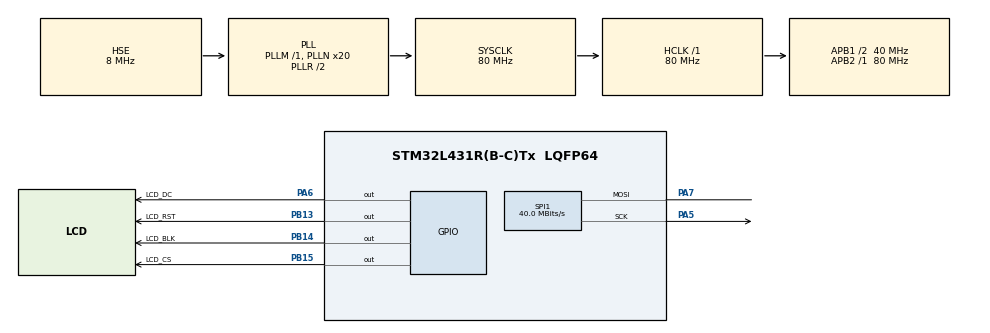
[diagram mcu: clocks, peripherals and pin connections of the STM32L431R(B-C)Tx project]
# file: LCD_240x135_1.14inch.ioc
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Mcu.Family=STM32L4
Mcu.Name=STM32L431R(B-C)Tx
Mcu.Package=LQFP64
NVIC.PriorityGroup=NVIC_PRIORITYGROUP_4
PA13\ (JTMS-SWDIO).Mode=Serial_Wire
PA13\ (JTMS-SWDIO).Signal=SYS_JTMS-SWDIO
PA14\ (JTCK-SWCLK).Mode=Serial_Wire
PA14\ (JTCK-SWCLK).Signal=SYS_JTCK-SWCLK
PA5.Mode=Simplex_Bidirectional_Master
PA5.Signal=SPI1_SCK
PA6.GPIO_Label=LCD_DC
PA6.Signal=GPIO_Output
PA7.Mode=Simplex_Bidirectional_Master
PA7.Signal=SPI1_MOSI
PB13.GPIO_Label=LCD_RST
PB13.Signal=GPIO_Output
PB14.GPIO_Label=LCD_BLK
PB14.Signal=GPIO_Output
PB15.GPIO_Label=LCD_CS
PB15.Signal=GPIO_Output
PH0-OSC_IN\ (PH0).Mode=HSE-External-Oscillator
PH0-OSC_IN\ (PH0).Signal=RCC_OSC_IN
PH1-OSC_OUT\ (PH1).Mode=HSE-External-Oscillator
PH1-OSC_OUT\ (PH1).Signal=RCC_OSC_OUT
ProjectManager.HeapSize=0x200
ProjectManager.StackSize=0x400
ProjectManager.TargetToolchain=MDK-ARM V5.32
RCC.48MHZClocksFreq_Value=42000000
RCC.ADCFreq_Value=32000000
RCC.AHBFreq_Value=80000000
RCC.APB1CLKDivider=RCC_HCLK_DIV2
RCC.APB1Freq_Value=40000000
RCC.APB1TimFreq_Value=80000000
RCC.APB2Freq_Value=80000000
RCC.APB2TimFreq_Value=80000000
RCC.CortexFreq_Value=80000000
RCC.HCLKFreq_Value=80000000
RCC.HSE_VALUE=8000000
RCC.HSI48_VALUE=48000000
RCC.HSI_VALUE=16000000
RCC.LSE_VALUE=32768
RCC.MSI_VALUE=4000000
RCC.PLLN=20
RCC.PLLSourceVirtual=RCC_PLLSOURCE_HSE
RCC.RCC_TIM_PRescaler_Selection=RCC_TIMPRES_DESACTIVATED
RCC.SYSCLKFreq_VALUE=80000000
RCC.SYSCLKSource=RCC_SYSCLKSOURCE_PLLCLK
RCC.VCOOutputFreq_Value=160000000
SPI1.CLKPhase=SPI_PHASE_1EDGE
SPI1.CLKPolarity=SPI_POLARITY_HIGH
SPI1.CalculateBaudRate=40.0 MBits/s
SPI1.DataSize=SPI_DATASIZE_8BIT
SPI1.Direction=SPI_DIRECTION_1LINE
SPI1.Mode=SPI_MODE_MASTER
SPI1.VirtualType=VM_MASTER
board=custom

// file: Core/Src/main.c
/* USER CODE BEGIN Header */
/**
  ******************************************************************************
  * @file           : main.c
  * @brief          : Main program body
  ******************************************************************************
  * @attention
  *
  * <h2><center>&copy; Copyright (c) 2022 STMicroelectronics.
  * All rights reserved.</center></h2>
  *
  * This software component is licensed by ST under BSD 3-Clause license,
  * the "License"; You may not use this file except in compliance with the
  * License. You may obtain a copy of the License at:
  *                        opensource.org/licenses/BSD-3-Clause
  *
  ******************************************************************************
  */
/* USER CODE END Header */
#include "main.h"
#include "spi.h"
#include "gpio.h"

/* USER CODE BEGIN Includes */
#include "lcd.h"
#include "picture.h"
#include "picture1.h"
#include "picture2.h"

/* USER CODE END Includes */

void SystemClock_Config(void);

int main(void)
{

  /* MCU Configuration--------------------------------------------------------*/

  /* Reset of all peripherals, Initializes the Flash interface and the Systick. */
  HAL_Init();

  /* Configure the system clock */
  SystemClock_Config();

  /* Initialize all configured peripherals */
  MX_GPIO_Init();
  MX_SPI1_Init();
  /* USER CODE BEGIN 2 */
	Lcd_Init();
	Lcd_Clear(BLACK);
	Lcd_print( 0,  10,  BLUE, "X Pulse");
	Lcd_print( 0,  30,   RED, "X Pulse");
	Lcd_print( 0,  50, GREEN, "X Pulse");
	Lcd_print( 0, 110, LIGHTBLUE, "2024-01-01 00:00:01");
	HAL_Delay(2000);

  /* USER CODE END 2 */

  /* Infinite loop */
  /* USER CODE BEGIN WHILE */
  while (1)
  {
		Lcd_ShowPicture(0, 0, 240, 135, gImage_picture);
		HAL_Delay(2000);
		Lcd_ShowPicture(0, 0, 240, 135, gImage_picture1);
		HAL_Delay(2000);
		Lcd_ShowPicture(0, 0, 240, 135, gImage_picture2);
		HAL_Delay(2000);
    /* USER CODE END WHILE */

  }
}

void SystemClock_Config(void)
{
  RCC_OscInitTypeDef RCC_OscInitStruct = {0};
  RCC_ClkInitTypeDef RCC_ClkInitStruct = {0};

  /** Configure the main internal regulator output voltage
  */
  if (HAL_PWREx_ControlVoltageScaling(PWR_REGULATOR_VOLTAGE_SCALE1) != HAL_OK)
  {
    Error_Handler();
  }

  /** Initializes the RCC Oscillators according to the specified parameters
  * in the RCC_OscInitTypeDef structure.
  */
  RCC_OscInitStruct.OscillatorType = RCC_OSCILLATORTYPE_HSE;
  RCC_OscInitStruct.HSEState = RCC_HSE_ON;
  RCC_OscInitStruct.PLL.PLLState = RCC_PLL_ON;
  RCC_OscInitStruct.PLL.PLLSource = RCC_PLLSOURCE_HSE;
  RCC_OscInitStruct.PLL.PLLM = 1;
  RCC_OscInitStruct.PLL.PLLN = 20;
  RCC_OscInitStruct.PLL.PLLP = RCC_PLLP_DIV7;
  RCC_OscInitStruct.PLL.PLLQ = RCC_PLLQ_DIV2;
  RCC_OscInitStruct.PLL.PLLR = RCC_PLLR_DIV2;
  if (HAL_RCC_OscConfig(&RCC_OscInitStruct) != HAL_OK)
  {
    Error_Handler();
  }

  /** Initializes the CPU, AHB and APB buses clocks
  */
  RCC_ClkInitStruct.ClockType = RCC_CLOCKTYPE_HCLK|RCC_CLOCKTYPE_SYSCLK
                              |RCC_CLOCKTYPE_PCLK1|RCC_CLOCKTYPE_PCLK2;
  RCC_ClkInitStruct.SYSCLKSource = RCC_SYSCLKSOURCE_PLLCLK;
  RCC_ClkInitStruct.AHBCLKDivider = RCC_SYSCLK_DIV1;
  RCC_ClkInitStruct.APB1CLKDivider = RCC_HCLK_DIV2;
  RCC_ClkInitStruct.APB2CLKDivider = RCC_HCLK_DIV1;

  if (HAL_RCC_ClockConfig(&RCC_ClkInitStruct, FLASH_LATENCY_4) != HAL_OK)
  {
    Error_Handler();
  }
}

void Error_Handler(void)
{
  __disable_irq();
  while (1)
  {
  }
}
